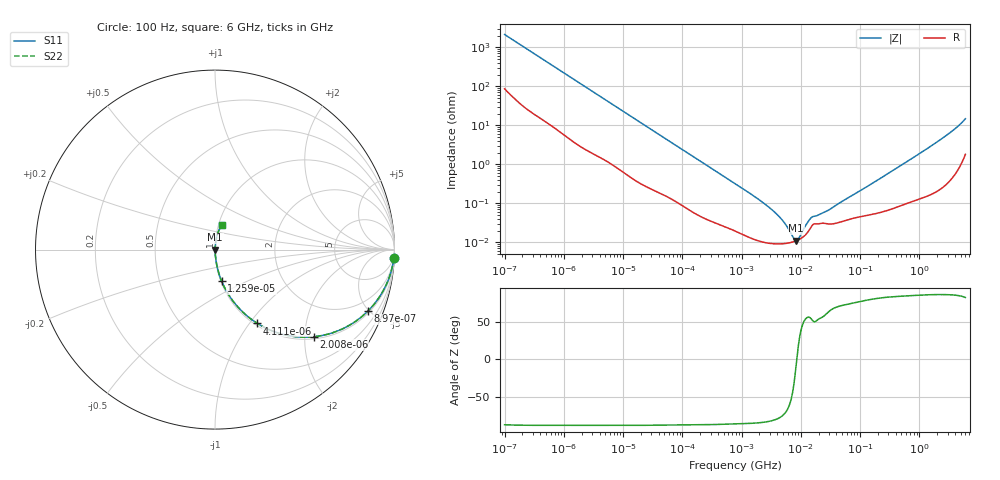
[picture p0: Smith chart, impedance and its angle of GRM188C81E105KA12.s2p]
!Murata Part Number: GRM188C81E105KA12
!These Parameters are Measured in Series Mode Connection
!Data Generated on Mar 30, 2021
!  o--ll--o
!Port1  Port2
!  o------o
!Operation Temp=25[degC], DC Bias Voltage=0[V]
!Freq. Start=100[Hz] Stop=6[GHz] 401[Steps]
# Hz S RI R 50
!Freq.(Hz) S11(Real) S11(Imag) S21(Real) S21(Imag) S12(Real) S12(Imag) S22(Real) S22(Imag)
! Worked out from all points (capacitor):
!   401 points, 100 Hz to 6 GHz, reference 50 ohm
!   read as one part in series: C = 742 nF near 109 Hz
!   lowest |Z| = 11 mohm at 8.312 MHz (marker M1)
!   series resonance near 8.545 MHz, so ESL is about 470 pH
!   S11 on the Smith chart (normalised r, x): 100 Hz: 3, -43; 897 Hz: 1.13, -4.91; 2.008 kHz: 1.05, -2.22; 4.111 kHz: 1.03, -1.09; 12.59 kHz: 1.01, -0.36; 6 GHz: 1.04, +0.29
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100  0.9959 -0.0465  0.00406 0.0465  0.00406 0.0465  0.9959 -0.0465
335  0.9727 -0.1497  0.0273 0.1497  0.0273 0.1497  0.9727 -0.1497
897  0.8513 -0.3429  0.1487 0.3429  0.1487 0.3429  0.8513 -0.3429
1342  0.7266 -0.4336  0.2734 0.4336  0.2734 0.4336  0.7266 -0.4336
2008  0.5502 -0.4854  0.4498 0.4854  0.4498 0.4854  0.5502 -0.4854
4111  0.2366 -0.4116  0.7634 0.4116  0.7634 0.4116  0.2366 -0.4116
6728  0.1091 -0.2981  0.8909 0.2981  0.8909 0.2981  0.1091 -0.2981
12592  0.0366 -0.1749  0.9634 0.1749  0.9634 0.1749  0.0366 -0.1749
40335  0.00519 -0.0576  0.9948 0.0576  0.9948 0.0576  0.00519 -0.0576
774597  0.000205 -0.00321  0.9998 0.00321  0.9998 0.00321  0.000205 -0.00321
1983483  0.000109 -0.00122  0.9999 0.00122  0.9999 0.00122  0.000109 -0.00122
3549919  9.18e-05 -0.000602  0.9999 0.000602  0.9999 0.000602  9.18e-05 -0.000602
5079039  9.21e-05 -0.00033  0.9999 0.00033  0.9999 0.00033  9.21e-05 -0.00033
7599586  0.000104 -7.17e-05  0.9999 7.17e-05  0.9999 7.17e-05  0.000104 -7.17e-05
8311524  0.000109 -1.68e-05  0.9999 1.68e-05  0.9999 1.68e-05  0.000109 -1.68e-05
9090158  0.000116 3.82e-05  0.9999 -3.82e-05  0.9999 -3.82e-05  0.000116 3.82e-05
1.300572e7  0.000179 0.000269  0.9998 -0.000269  0.9998 -0.000269  0.000179 0.000269
1.555665e7  0.000271 0.000356  0.9997 -0.000356  0.9997 -0.000356  0.000271 0.000356
2.911731e7  0.000296 0.000592  0.9997 -0.000592  0.9997 -0.000592  0.000296 0.000592
3.124326e8  0.000716 0.00604  0.9993 -0.00604  0.9993 -0.00604  0.000716 0.00604
2.240541e9  0.00402 0.0419  0.996 -0.0419  0.996 -0.0419  0.00402 0.0419
6e9  0.0376 0.1383  0.9624 -0.1383  0.9624 -0.1383  0.0376 0.1383
